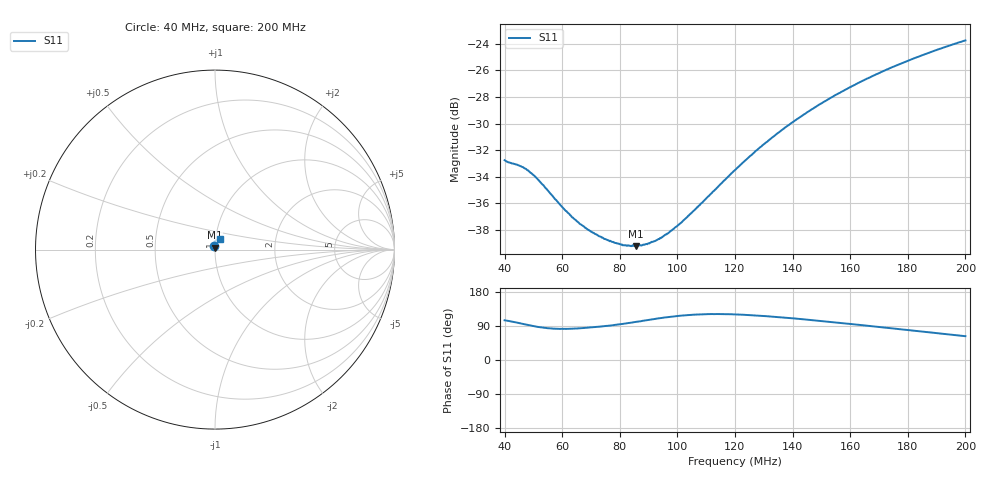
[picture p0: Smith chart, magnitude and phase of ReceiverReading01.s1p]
# Hz S RI R 50
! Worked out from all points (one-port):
!   641 points, 40 MHz to 200 MHz, reference 50 ohm
!   lowest |S11| = -39.2 dB at 85.5 MHz (marker M1), VSWR 1.02, Z = 49.8 + j1.07 ohm
!   |S11| at or under -10 dB: start of sweep to end of sweep
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4e7  -0.00588 0.0223
4.575e7  -0.00239 0.0217
4.875e7  -0.000488 0.0208
5.15e7  0.000917 0.0195
6e7  0.0021 0.0152
6.4e7  0.00173 0.0138
6.6e7  0.00146 0.0132
6.925e7  0.000929 0.0125
7.5e7  7.36e-05 0.0116
8e7  -0.000826 0.0111
8.175e7  -0.00119 0.0109
8.55e7  -0.00197 0.0108
8.925e7  -0.00289 0.0108
9.3e7  -0.00385 0.0109
9.675e7  -0.00482 0.0112
1e8  -0.00575 0.0117
1.0575e8  -0.00738 0.0129
1.2e8  -0.0107 0.0183
1.2925e8  -0.0116 0.0232
1.3475e8  -0.0116 0.0267
1.4e8  -0.011 0.0301
1.4925e8  -0.00862 0.0363
1.55e8  -0.00637 0.0401
1.6e8  -0.00387 0.0432
1.7075e8  0.00299 0.0494
1.8e8  0.0103 0.0535
1.9025e8  0.0198 0.0566
2e8  0.0297 0.0578
